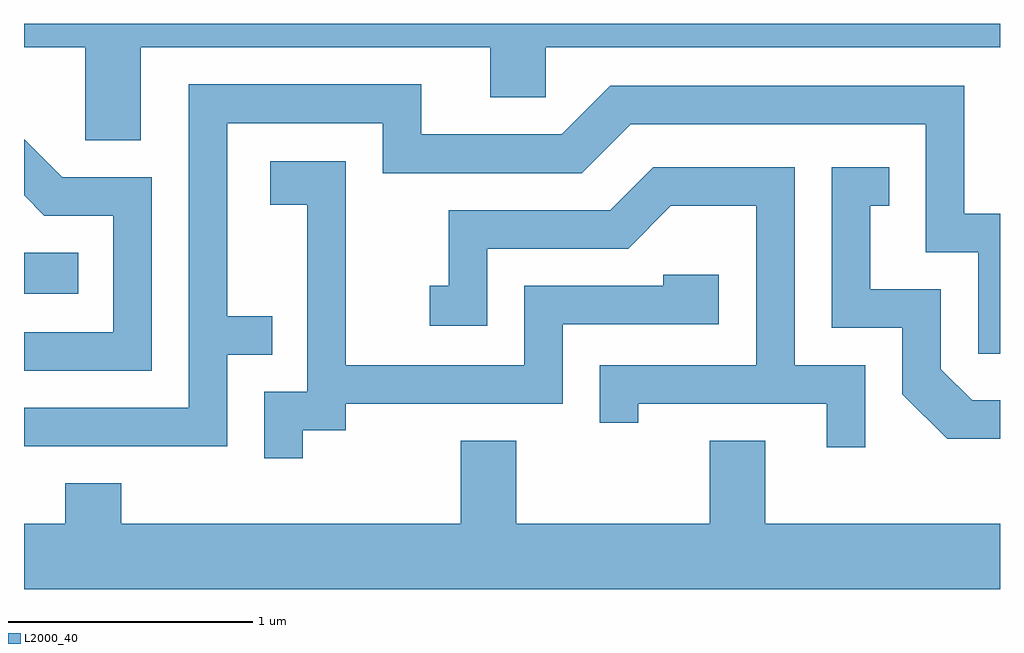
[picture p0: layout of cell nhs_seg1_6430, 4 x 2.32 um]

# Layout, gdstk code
import gdstk
lib = gdstk.Library(unit=1e-6, precision=1e-09)
def R(c, l, rs):  # rectangles x0, y0, x1, y1
    for r in rs: c.add(gdstk.rectangle(r[:2], r[2:], *l))
def P(c, l, *ps):  # polygons
    for p in ps: c.add(gdstk.Polygon(p, *l))
L2000_40 = (2000, 40)

nhs_seg1_6430 = lib.new_cell('nhs_seg1_6430')
R(nhs_seg1_6430, L2000_40, [(379.611,858.606,379.833,858.774)])
P(nhs_seg1_6430, L2000_40, [(380.089,859.616),(381.521,859.616),(381.521,859.411),(381.749,859.411),(381.749,859.616),(383.611,859.616),(383.611,859.712),(379.611,859.712),(379.611,859.616),(379.861,859.616),(379.861,859.236),(380.089,859.236)],
  [(380.444,858.356),(380.628,858.356),(380.628,858.514),(380.444,858.514),(380.444,859.306),(381.081,859.306),(381.081,859.101),(381.897,859.101),(382.097,859.301),(383.306,859.301),(383.306,858.776),(383.521,858.776),(383.521,858.361),(383.611,858.361),(383.611,858.934),(383.464,858.934),(383.464,859.459),(382.014,859.459),(381.814,859.259),(381.239,859.259),(381.239,859.464),(380.286,859.464),(380.286,858.139),(379.611,858.139),(379.611,857.981),(380.444,857.981)],
  [(380.134,859.084),(379.767,859.084),(379.611,859.24),(379.611,859.009),(379.694,858.926),(379.976,858.926),(379.976,858.449),(379.611,858.449),(379.611,858.291),(380.134,858.291)],
  [(380.754,858.046),(380.929,858.046),(380.929,858.156),(381.819,858.156),(381.819,858.481),(382.459,858.481),(382.459,858.684),(382.231,858.684),(382.231,858.639),(381.661,858.639),(381.661,858.314),(380.929,858.314),(380.929,859.149),(380.621,859.149),(380.621,858.971),(380.771,858.971),(380.771,858.204),(380.596,858.204),(380.596,857.933),(380.754,857.933)],
  [(383.611,858.169),(383.497,858.169),(383.369,858.297),(383.369,858.624),(383.079,858.624),(383.079,858.966),(383.158,858.966),(383.158,859.124),(382.921,859.124),(382.921,858.466),(383.211,858.466),(383.211,858.194),(383.394,858.011),(383.611,858.011)],
  [(383.059,858.314),(382.769,858.314),(382.769,859.124),(382.189,859.124),(382.014,858.949),(381.351,858.949),(381.351,858.639),(381.273,858.639),(381.273,858.476),(381.509,858.476),(381.509,858.791),(382.087,858.791),(382.262,858.966),(382.611,858.966),(382.611,858.314),(381.971,858.314),(381.971,858.078),(382.129,858.078),(382.129,858.156),(382.901,858.156),(382.901,857.978),(383.059,857.978)],
  [(383.611,857.664),(382.649,857.664),(382.649,858.004),(382.421,858.004),(382.421,857.664),(381.629,857.664),(381.629,858.004),(381.401,858.004),(381.401,857.664),(380.009,857.664),(380.009,857.829),(379.781,857.829),(379.781,857.664),(379.611,857.664),(379.611,857.396),(383.611,857.396)])

lib.write_gds('nhs_seg1_6430.gds')
